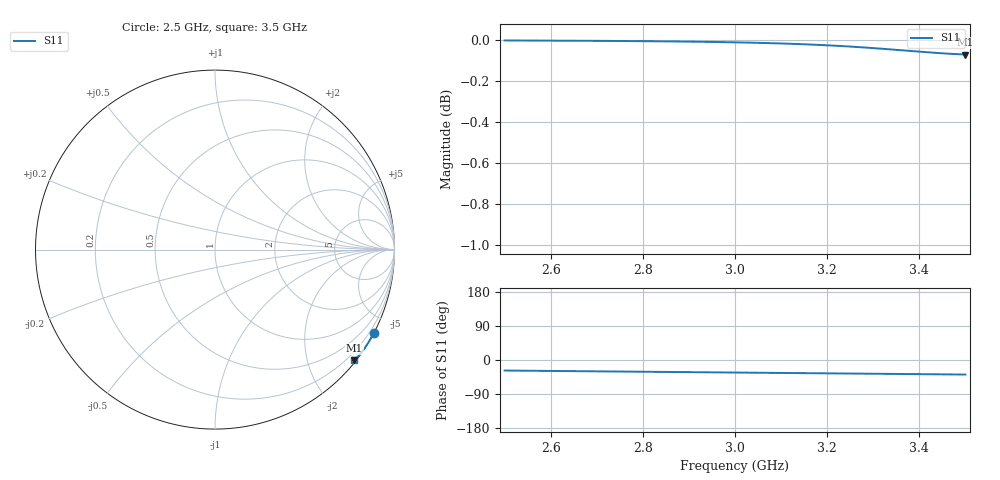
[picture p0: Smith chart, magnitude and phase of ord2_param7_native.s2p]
! Sonnet Data File
! From: em Version : 18.53-Lite
! From Project: ord2_param7
! Data is NOT De-embedded
! Data File Written: 10/12/2026 15:49:37
!< HDATE 10/24/2012 09:32:25
!< MDATE 10/24/2012 09:32:25
!< PARAMS
!< W = 1300.0
!< A2 = 700.0
!< END PARAMS
# GHZ S RI R 50.00000
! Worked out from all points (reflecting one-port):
!   201 points, 2.5 GHz to 3.5 GHz, reference 50 ohm
!   lowest |S11| = -0.1 dB at 3.5 GHz (marker M1), VSWR 238.25, Z = 1.94 - j144 ohm
!   phase of S11 starts at -28 deg and turns -11 deg over the sweep
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2.5  0.884 -0.4663
2.565  0.8782 -0.4771
2.625  0.8726 -0.487
2.69  0.8665 -0.4977
2.75  0.8607 -0.5075
2.785  0.8573 -0.5131
2.815  0.8543 -0.5179
2.875  0.8482 -0.5275
2.91  0.8446 -0.5331
2.94  0.8415 -0.5378
2.97  0.8383 -0.5425
3  0.8351 -0.5472
3.035  0.8313 -0.5526
3.065  0.828 -0.5572
3.095  0.8247 -0.5618
3.125  0.8212 -0.5663
3.16  0.8172 -0.5715
3.19  0.8137 -0.5759
3.22  0.8101 -0.5803
3.25  0.8065 -0.5845
3.285  0.8023 -0.5894
3.315  0.7986 -0.5934
3.345  0.7949 -0.5973
3.375  0.7913 -0.6011
3.41  0.7872 -0.6053
3.44  0.7837 -0.6089
3.47  0.7804 -0.6124
3.5  0.7772 -0.6159
